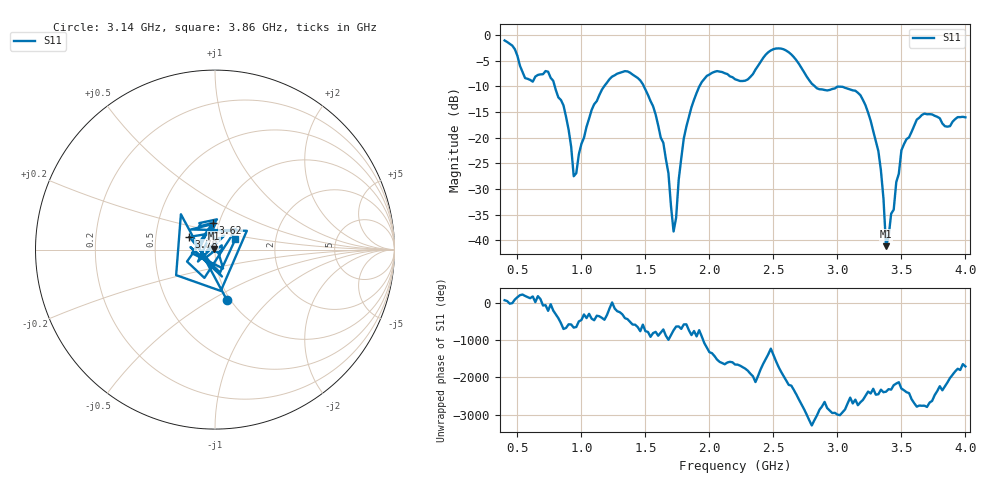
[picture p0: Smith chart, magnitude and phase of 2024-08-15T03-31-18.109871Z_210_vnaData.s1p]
!Created with skrf (http://scikit-rf.org).
# Hz S RI R 50.0
!freq ReS11 ImS11
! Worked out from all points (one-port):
!   181 points, 400 MHz to 4 GHz, reference 50 ohm
!   lowest |S11| = -41.1 dB at 3.38 GHz (marker M1), VSWR 1.02, Z = 49.4 + j0.588 ohm
!   |S11| at or under -10 dB: 791.9 MHz to 1.178 GHz (385.7 MHz wide, 39.2 % of centre); 1.488 GHz to 1.922 GHz (434.1 MHz wide, 25.5 % of centre); 2.824 GHz to end of sweep
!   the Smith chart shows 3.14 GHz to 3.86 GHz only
!   S11 on the Smith chart (normalised r, x): 3.14 GHz: 0.96, -0.59; 3.62 GHz: 0.93, +0.29; 3.78 GHz: 0.74, +0.11; 3.86 GHz: 1.25, +0.15
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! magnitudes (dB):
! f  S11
! 400 MHz  -1.1
! 560 MHz  -8.4
! 740 MHz  -7.2
! 860 MHz  -13.7
! 940 MHz  -27.5
! 1.08 GHz  -14.6
! 1.3 GHz  -7.4
! 1.56 GHz  -13.9
! 1.68 GHz  -26.9
! 1.72 GHz  -38.3
! 1.76 GHz  -28.2
! 1.82 GHz  -17.8
! 1.94 GHz  -9.2
! 2.2 GHz  -8.6
! 2.5 GHz  -2.8
! 2.66 GHz  -4.3
! 2.84 GHz  -10.4
! 3.1 GHz  -10.6
! 3.14 GHz  -10.9
! 3.32 GHz  -22.6
! 3.36 GHz  -31.9
! 3.38 GHz  -41.1
! 3.5 GHz  -22.5
! 3.56 GHz  -19.9
! 3.62 GHz  -16.5
! 3.78 GHz  -15.9
! 3.86 GHz  -17.9
! 4 GHz  -16.0
